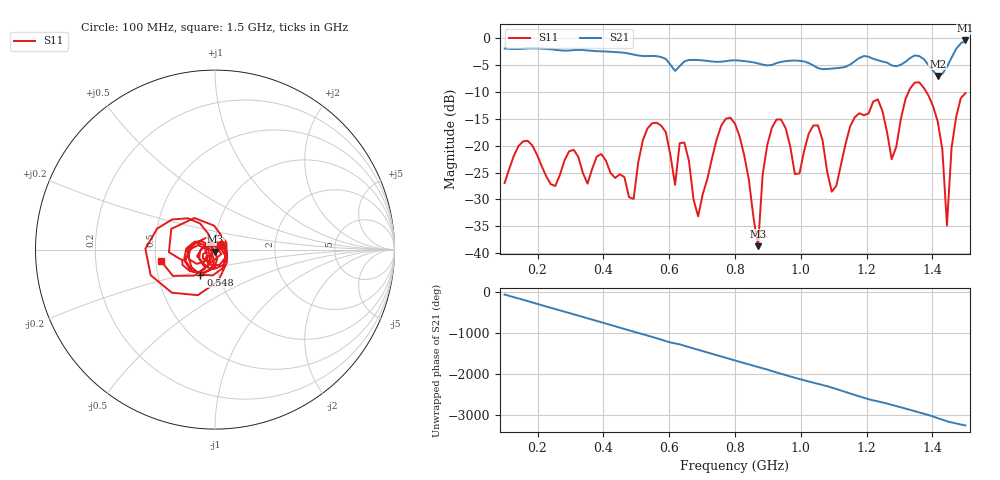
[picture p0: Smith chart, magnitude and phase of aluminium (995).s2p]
! NanoVNA-App
! Date: 2025-09-25 15:03:01
! Start: 100MHz Stop: 1,5GHz Points: 101
! S-Parameter data: F S11 S21 S12 S22
# Hz S RI R 50
!  Frequency  S11_Real  S11_Imag  S21_Real  S21_Imag  S12_Real  S12_Imag  S22_Real  S22_Imag
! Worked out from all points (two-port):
!   101 points, 100 MHz to 1.5 GHz, reference 50 ohm
!   highest |S21| = -0.44 dB at 1.5 GHz (marker M1); lowest = -7.1 dB at 1.416 GHz (marker M2)
!   |S21| within 3 dB of the highest: start of sweep to 568.7 MHz; 1.46 GHz to end of sweep (the widest 2 of 4)
!   lowest |S11| = -38.7 dB at 870 MHz (marker M3), VSWR 1.02, Z = 50.2 - j1.15 ohm
!   |S11| at or under -10 dB: start of sweep to 1.328 GHz; 1.381 GHz to end of sweep
!   S12 and S22 are empty: the file has one direction only
!   S11 on the Smith chart (normalised r, x): 100 MHz: 1.07, +0.06; 548 MHz: 0.82, -0.23; 1.5 GHz: 0.53, -0.07
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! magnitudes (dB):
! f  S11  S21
! 100 MHz  -27.0  -1.9
! 156 MHz  -19.2  -2.0
! 338 MHz  -25.1  -2.2
! 492 MHz  -29.9  -3.1
! 548 MHz  -15.8  -3.3
! 576 MHz  -16.3  -3.5
! 618 MHz  -27.3  -6.1
! 646 MHz  -19.4  -4.3
! 688 MHz  -33.1  -4.1
! 800 MHz  -15.9  -4.1
! 870 MHz  -38.7  -4.7
! 912 MHz  -16.7  -5.0
! 982 MHz  -25.3  -4.2
! 1.038 GHz  -16.2  -5.1
! 1.094 GHz  -28.6  -5.7
! 1.22 GHz  -11.8  -3.8
! 1.276 GHz  -22.5  -5.1
! 1.346 GHz  -8.3  -3.2
! 1.416 GHz  -15.5  -7.1
! 1.444 GHz  -34.8  -5.3
! 1.458 GHz  -20.4  -3.6
! 1.5 GHz  -10.2  -0.4
